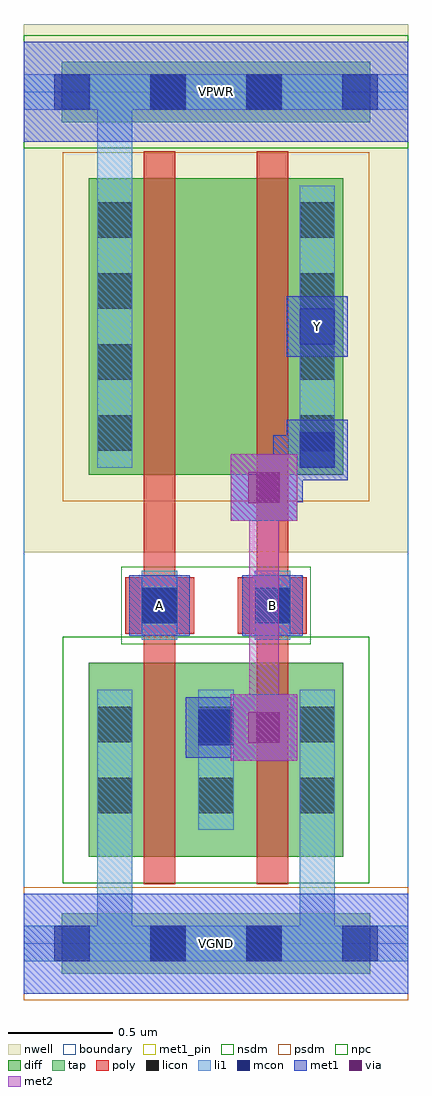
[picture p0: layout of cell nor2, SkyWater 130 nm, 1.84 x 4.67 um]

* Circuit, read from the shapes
.subckt nor2 A B VGND VPWR Y
XM1 Y A VGND VGND sky130_fd_pr__nfet_01v8 w=0.93 l=0.15
XM2 VGND B Y VGND sky130_fd_pr__nfet_01v8 w=0.93 l=0.15
XM3 n1 A VPWR VPWR sky130_fd_pr__pfet_01v8 w=1.42 l=0.15
XM4 Y B n1 VPWR sky130_fd_pr__pfet_01v8 w=1.42 l=0.15
.ends

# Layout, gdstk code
import gdstk
lib = gdstk.Library(unit=1e-6, precision=1e-09)
def R(c, l, rs):  # rectangles x0, y0, x1, y1
    for r in rs: c.add(gdstk.rectangle(r[:2], r[2:], *l))
def A(c, l, x, y, w, h, nx, ny, dx, dy):  # array of equal rectangles
    R(c, l, [(x+i*dx, y+j*dy, x+i*dx+w, y+j*dy+h) for i in range(nx) for j in range(ny)])
nwell = (64, 20)
diff = (65, 20)
tap = (65, 44)
poly = (66, 20)
licon = (66, 44)
li1 = (67, 20)
mcon = (67, 44)
met1_pin = (68, 16)
met1 = (68, 20)
via = (68, 44)
met2 = (69, 20)
nsdm = (93, 44)
psdm = (94, 20)
npc = (95, 20)
boundary = (235, 4)

nor2 = lib.new_cell('nor2')
R(nor2, nwell, [(0,1.875,1.84,4.405)])
R(nor2, diff, [(0.31,0.415,1.53,1.345), (0.31,2.245,1.53,3.665)])
R(nor2, tap, [(0.18,-0.145,1.66,0.145), (0.18,3.935,1.66,4.225)])
R(nor2, poly, [(0.575,0.285,0.725,3.795), (1.115,0.285,1.265,3.795), (0.485,1.485,0.815,1.755), (1.025,1.485,1.355,1.755)])
A(nor2, licon, 0.35, 0.625, 0.17, 0.17, 3, 2, 0.485, 0.34)
A(nor2, licon, 0.35, 2.36, 0.17, 0.17, 1, 4, 0, 0.34)
A(nor2, licon, 1.32, 2.36, 0.17, 0.17, 1, 4, 0, 0.34)
R(nor2, licon, [(0.605,-0.085,0.775,0.085), (1.065,-0.085,1.235,0.085), (0.565,1.535,0.735,1.705), (1.105,1.535,1.275,1.705), (0.605,3.995,0.775,4.165), (1.065,3.995,1.235,4.165)])
A(nor2, li1, 0.35, 0.545, 0.17, 0.67, 3, 1, 0.485, 0)
R(nor2, li1, [(0,-0.085,1.84,0.085), (0.35,-0.085,0.52,1.215), (1.32,-0.085,1.49,1.215), (0.565,1.455,0.735,1.785), (1.105,1.455,1.275,1.785), (0.35,2.28,0.52,3.63), (0.35,2.28,0.52,4.165), (1.32,2.28,1.49,3.63), (0,3.995,1.84,4.165)])
A(nor2, mcon, 0.145, -0.085, 0.17, 0.17, 4, 2, 0.46, 4.08)
R(nor2, mcon, [(0.835,0.95,1.005,1.12), (0.565,1.535,0.735,1.705), (1.105,1.535,1.275,1.705), (1.32,2.28,1.49,2.45), (1.32,2.87,1.49,3.04)])
R(nor2, met1_pin, [(0,-0.24,1.84,0.24), (0.505,1.475,0.795,1.765), (1.045,1.475,1.335,1.765), (1.26,2.81,1.55,3.1), (0,3.84,1.84,4.32)])
R(nor2, met1, [(0,-0.24,1.84,0.24), (0.99,0.875,1.31,1.195), (0.775,0.89,1.065,1.18), (0.85,0.965,1.22,1.105), (0.505,1.475,0.795,1.765), (1.045,1.475,1.335,1.765), (0.99,2.025,1.31,2.345), (1.08,2.115,1.335,2.255), (1.195,2.115,1.335,2.435), (1.26,2.22,1.55,2.51), (1.195,2.295,1.475,2.435), (1.26,2.81,1.55,3.1), (0,3.84,1.84,4.32)])
R(nor2, via, [(1.075,0.96,1.225,1.11), (1.075,2.11,1.225,2.26)])
R(nor2, met2, [(0.99,0.875,1.31,1.195), (1.08,0.965,1.22,2.255), (0.99,2.025,1.31,2.345)])
R(nor2, nsdm, [(0.185,0.29,1.655,1.47), (0,3.81,1.84,4.35)])
R(nor2, psdm, [(0,-0.27,1.84,0.27), (0.185,2.12,1.655,3.79)])
R(nor2, npc, [(0.465,1.435,1.375,1.805)])
R(nor2, boundary, [(0,0,1.84,4.08)])
nor2.add(gdstk.Label('A', (0.65,1.62), layer=68, texttype=5))
nor2.add(gdstk.Label('B', (1.19,1.62), layer=68, texttype=5))
nor2.add(gdstk.Label('Y', (1.405,2.955), layer=68, texttype=5))
nor2.add(gdstk.Label('VPWR', (0.92,4.08), layer=68, texttype=5))
nor2.add(gdstk.Label('VGND', (0.92,0), layer=68, texttype=5))
nor2.add(gdstk.Label('A', (0.65,1.62), layer=68, texttype=16))
nor2.add(gdstk.Label('B', (1.19,1.62), layer=68, texttype=16))
nor2.add(gdstk.Label('Y', (1.405,2.955), layer=68, texttype=16))
nor2.add(gdstk.Label('VPWR', (0.92,4.08), layer=68, texttype=16))
nor2.add(gdstk.Label('VGND', (0.92,0), layer=68, texttype=16))

lib.write_gds('nor2.gds')
